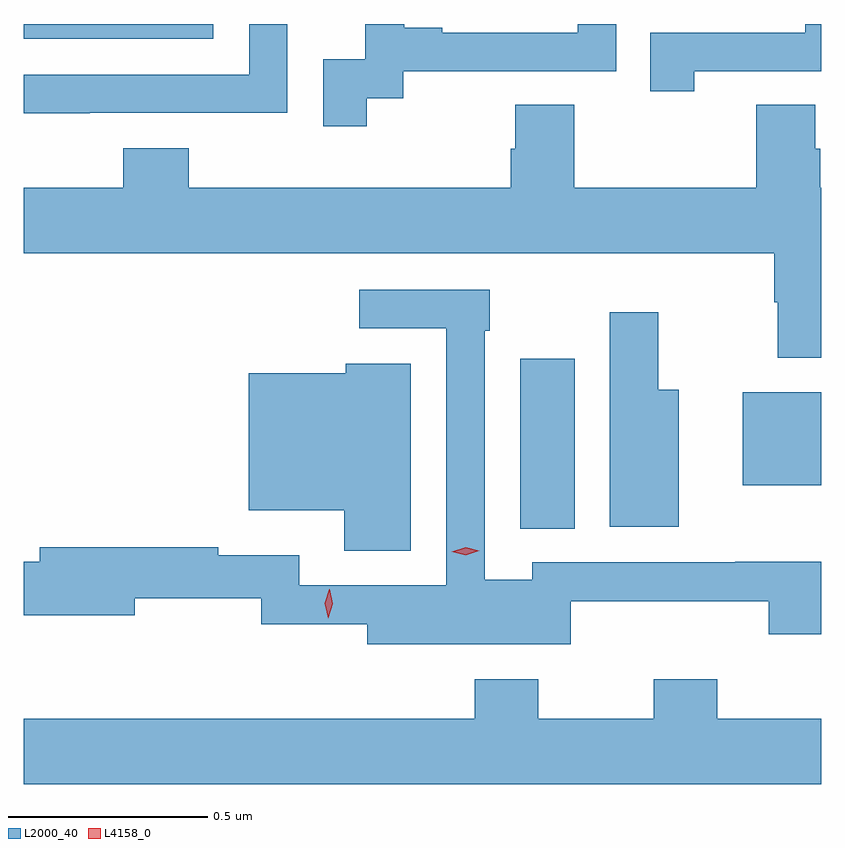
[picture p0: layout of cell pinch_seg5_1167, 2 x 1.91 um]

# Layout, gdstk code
import gdstk
lib = gdstk.Library(unit=1e-6, precision=1e-09)
def R(c, l, rs):  # rectangles x0, y0, x1, y1
    for r in rs: c.add(gdstk.rectangle(r[:2], r[2:], *l))
def P(c, l, *ps):  # polygons
    for p in ps: c.add(gdstk.Polygon(p, *l))
L2000_40 = (2000, 40)
L4158_0 = (4158, 0)

pinch_seg5_1167 = lib.new_cell('pinch_seg5_1167')
R(pinch_seg5_1167, L2000_40, [(782.297,852.073,782.434,852.499), (782.855,852.182,783.052,852.415), (781.052,853.302,781.527,853.339)])
P(pinch_seg5_1167, L2000_40, [(781.912,853.153),(782.004,853.153),(782.004,853.221),(782.538,853.221),(782.538,853.339),(782.442,853.339),(782.442,853.317),(782.101,853.317),(782.101,853.33),(782.006,853.33),(782.006,853.339),(781.908,853.339),(781.908,853.251),(781.803,853.251),(781.803,853.083),(781.912,853.083)],
  [(781.217,853.116),(781.713,853.116),(781.713,853.339),(781.617,853.339),(781.617,853.212),(781.052,853.212),(781.052,853.115),(781.217,853.115)],
  [(782.734,853.221),(783.052,853.221),(783.052,853.339),(783.012,853.339),(783.012,853.317),(782.623,853.317),(782.623,853.17),(782.734,853.17)],
  [(783.052,852.928),(783.05,852.928),(783.05,853.026),(783.037,853.026),(783.037,853.136),(782.89,853.136),(782.89,852.928),(782.433,852.928),(782.433,853.136),(782.285,853.136),(782.285,853.026),(782.273,853.026),(782.273,852.928),(781.466,852.928),(781.466,853.027),(781.301,853.027),(781.301,852.928),(781.052,852.928),(781.052,852.764),(782.935,852.764),(782.935,852.641),(782.943,852.641),(782.943,852.501),(783.052,852.501)],
  [(782.424,851.891),(782.921,851.891),(782.921,851.808),(783.052,851.808),(783.052,851.99),(782.837,851.99),(782.837,851.988),(782.328,851.988),(782.328,851.944),(782.208,851.944),(782.208,852.569),(782.221,852.569),(782.221,852.672),(781.893,852.672),(781.893,852.576),(782.112,852.576),(782.112,851.931),(781.743,851.931),(781.743,852.006),(781.54,852.006),(781.54,852.026),(781.091,852.026),(781.091,851.99),(781.052,851.99),(781.052,851.855),(781.33,851.855),(781.33,851.898),(781.647,851.898),(781.647,851.833),(781.913,851.833),(781.913,851.783),(782.424,851.783)],
  [(782.695,852.421),(782.644,852.421),(782.644,852.616),(782.522,852.616),(782.522,852.077),(782.695,852.077)],
  [(782.023,852.487),(781.86,852.487),(781.86,852.463),(781.616,852.463),(781.616,852.119),(781.856,852.119),(781.856,852.017),(782.023,852.017)],
  [(783.052,851.596),(782.792,851.596),(782.792,851.695),(782.632,851.695),(782.632,851.596),(782.343,851.596),(782.343,851.695),(782.183,851.695),(782.183,851.596),(781.052,851.596),(781.052,851.432),(783.052,851.432)])
P(pinch_seg5_1167, L4158_0, [(782.161,852.006),(782.126,852.015),(782.126,852.015),(782.126,852.015),(782.16,852.026),(782.195,852.017),(782.195,852.017),(782.195,852.017)],
  [(781.816,851.848),(781.816,851.848),(781.807,851.885),(781.818,851.921),(781.818,851.921),(781.819,851.921),(781.827,851.884),(781.816,851.848)])

lib.write_gds('pinch_seg5_1167.gds')
